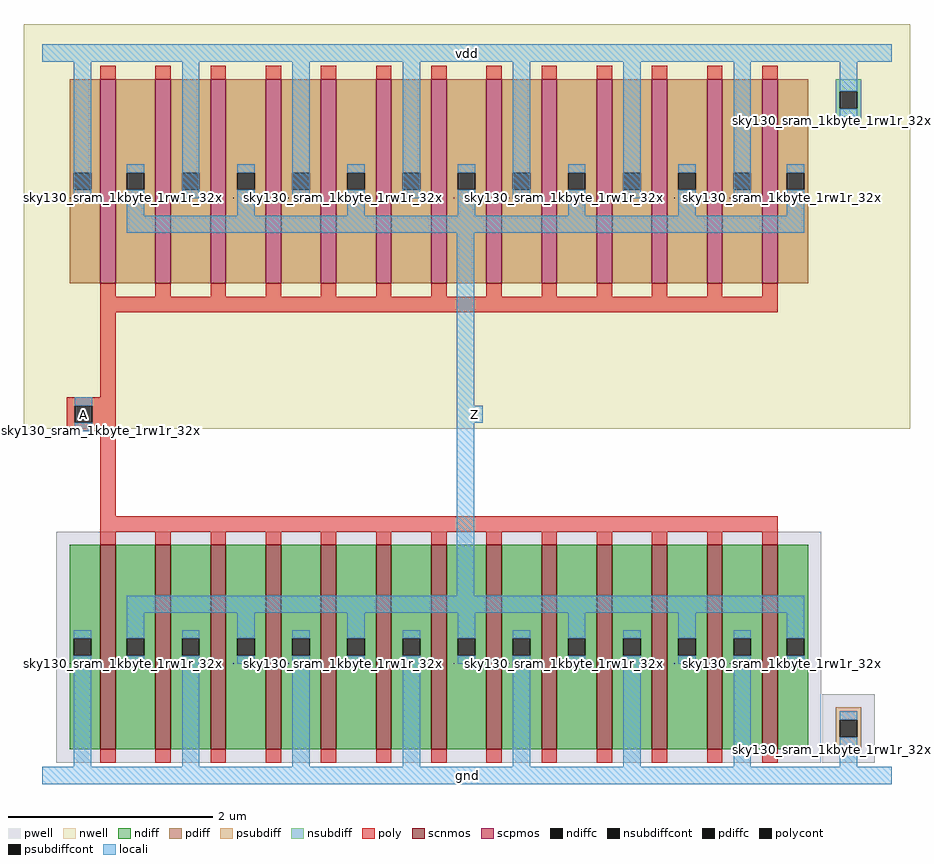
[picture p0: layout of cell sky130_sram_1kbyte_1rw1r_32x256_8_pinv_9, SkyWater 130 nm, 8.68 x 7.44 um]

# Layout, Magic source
magic
tech sky130A
magscale 1 2
<< nwell >>
rect -36 679 1700 1471
<< pwell >>
rect 1528 25 1630 159
<< psubdiff >>
rect 1554 109 1604 133
rect 1554 75 1562 109
rect 1596 75 1604 109
rect 1554 51 1604 75
<< nsubdiff >>
rect 1554 1339 1604 1363
rect 1554 1305 1562 1339
rect 1596 1305 1604 1339
rect 1554 1281 1604 1305
<< psubdiffcont >>
rect 1562 75 1596 109
<< nsubdiffcont >>
rect 1562 1305 1596 1339
<< poly >>
rect 114 740 144 907
rect 48 724 144 740
rect 48 690 64 724
rect 98 690 144 724
rect 48 674 144 690
rect 114 507 144 674
<< polycont >>
rect 64 690 98 724
<< locali >>
rect 0 1397 1664 1431
rect 62 1130 96 1397
rect 274 1130 308 1397
rect 490 1130 524 1397
rect 706 1130 740 1397
rect 922 1130 956 1397
rect 1138 1130 1172 1397
rect 1354 1130 1388 1397
rect 1562 1339 1596 1397
rect 1562 1289 1596 1305
rect 64 724 98 740
rect 64 674 98 690
rect 812 724 846 1096
rect 812 690 863 724
rect 812 318 846 690
rect 62 17 96 218
rect 274 17 308 218
rect 490 17 524 218
rect 706 17 740 218
rect 922 17 956 218
rect 1138 17 1172 218
rect 1354 17 1388 218
rect 1562 109 1596 125
rect 1562 17 1596 75
rect 0 -17 1664 17
use sky130_sram_1kbyte_1rw1r_32x256_8_contact_16  sky130_sram_1kbyte_1rw1r_32x256_8_contact_16_0
transform 1 0 48 0 1 674
box 0 0 1 1
use sky130_sram_1kbyte_1rw1r_32x256_8_contact_29  sky130_sram_1kbyte_1rw1r_32x256_8_contact_29_0
transform 1 0 1554 0 1 51
box 0 0 1 1
use sky130_sram_1kbyte_1rw1r_32x256_8_contact_28  sky130_sram_1kbyte_1rw1r_32x256_8_contact_28_0
transform 1 0 1554 0 1 1281
box 0 0 1 1
use sky130_sram_1kbyte_1rw1r_32x256_8_nmos_m13_w2_000_sli_dli_da_p  sky130_sram_1kbyte_1rw1r_32x256_8_nmos_m13_w2_000_sli_dli_da_p_0
transform 1 0 54 0 1 51
box -26 -26 1472 456
use sky130_sram_1kbyte_1rw1r_32x256_8_pmos_m13_w2_000_sli_dli_da_p  sky130_sram_1kbyte_1rw1r_32x256_8_pmos_m13_w2_000_sli_dli_da_p_0
transform 1 0 54 0 1 963
box -59 -56 1505 454
<< labels >>
rlabel locali s 81 707 81 707 4 A
port 1 nsew
rlabel locali s 846 707 846 707 4 Z
port 2 nsew
rlabel locali s 832 0 832 0 4 gnd
port 3 nsew
rlabel locali s 832 1414 832 1414 4 vdd
port 4 nsew
<< properties >>
string FIXED_BBOX 0 0 1664 1414
string GDS_FILE $PDKPATH/libs.ref/sky130_sram_macros/gds/sky130_sram_1kbyte_1rw1r_32x256_8.gds
string GDS_END 382704
string GDS_START 380066
<< end >>

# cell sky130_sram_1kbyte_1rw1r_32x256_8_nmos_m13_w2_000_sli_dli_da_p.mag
magic
tech sky130A
magscale 1 2
<< pwell >>
rect -26 -26 1472 426
<< scnmos >>
rect 60 0 90 400
rect 168 0 198 400
rect 276 0 306 400
rect 384 0 414 400
rect 492 0 522 400
rect 600 0 630 400
rect 708 0 738 400
rect 816 0 846 400
rect 924 0 954 400
rect 1032 0 1062 400
rect 1140 0 1170 400
rect 1248 0 1278 400
rect 1356 0 1386 400
<< ndiff >>
rect 0 217 60 400
rect 0 183 8 217
rect 42 183 60 217
rect 0 0 60 183
rect 90 217 168 400
rect 90 183 112 217
rect 146 183 168 217
rect 90 0 168 183
rect 198 217 276 400
rect 198 183 220 217
rect 254 183 276 217
rect 198 0 276 183
rect 306 217 384 400
rect 306 183 328 217
rect 362 183 384 217
rect 306 0 384 183
rect 414 217 492 400
rect 414 183 436 217
rect 470 183 492 217
rect 414 0 492 183
rect 522 217 600 400
rect 522 183 544 217
rect 578 183 600 217
rect 522 0 600 183
rect 630 217 708 400
rect 630 183 652 217
rect 686 183 708 217
rect 630 0 708 183
rect 738 217 816 400
rect 738 183 760 217
rect 794 183 816 217
rect 738 0 816 183
rect 846 217 924 400
rect 846 183 868 217
rect 902 183 924 217
rect 846 0 924 183
rect 954 217 1032 400
rect 954 183 976 217
rect 1010 183 1032 217
rect 954 0 1032 183
rect 1062 217 1140 400
rect 1062 183 1084 217
rect 1118 183 1140 217
rect 1062 0 1140 183
rect 1170 217 1248 400
rect 1170 183 1192 217
rect 1226 183 1248 217
rect 1170 0 1248 183
rect 1278 217 1356 400
rect 1278 183 1300 217
rect 1334 183 1356 217
rect 1278 0 1356 183
rect 1386 217 1446 400
rect 1386 183 1404 217
rect 1438 183 1446 217
rect 1386 0 1446 183
<< ndiffc >>
rect 8 183 42 217
rect 112 183 146 217
rect 220 183 254 217
rect 328 183 362 217
rect 436 183 470 217
rect 544 183 578 217
rect 652 183 686 217
rect 760 183 794 217
rect 868 183 902 217
rect 976 183 1010 217
rect 1084 183 1118 217
rect 1192 183 1226 217
rect 1300 183 1334 217
rect 1404 183 1438 217
<< poly >>
rect 60 426 1386 456
rect 60 400 90 426
rect 168 400 198 426
rect 276 400 306 426
rect 384 400 414 426
rect 492 400 522 426
rect 600 400 630 426
rect 708 400 738 426
rect 816 400 846 426
rect 924 400 954 426
rect 1032 400 1062 426
rect 1140 400 1170 426
rect 1248 400 1278 426
rect 1356 400 1386 426
rect 60 -26 90 0
rect 168 -26 198 0
rect 276 -26 306 0
rect 384 -26 414 0
rect 492 -26 522 0
rect 600 -26 630 0
rect 708 -26 738 0
rect 816 -26 846 0
rect 924 -26 954 0
rect 1032 -26 1062 0
rect 1140 -26 1170 0
rect 1248 -26 1278 0
rect 1356 -26 1386 0
<< locali >>
rect 112 267 1438 301
rect 8 217 42 233
rect 8 167 42 183
rect 112 217 146 267
rect 112 167 146 183
rect 220 217 254 233
rect 220 167 254 183
rect 328 217 362 267
rect 328 167 362 183
rect 436 217 470 233
rect 436 167 470 183
rect 544 217 578 267
rect 544 167 578 183
rect 652 217 686 233
rect 652 167 686 183
rect 760 217 794 267
rect 760 167 794 183
rect 868 217 902 233
rect 868 167 902 183
rect 976 217 1010 267
rect 976 167 1010 183
rect 1084 217 1118 233
rect 1084 167 1118 183
rect 1192 217 1226 267
rect 1192 167 1226 183
rect 1300 217 1334 233
rect 1300 167 1334 183
rect 1404 217 1438 267
rect 1404 167 1438 183
use sky130_sram_1kbyte_1rw1r_32x256_8_contact_11  sky130_sram_1kbyte_1rw1r_32x256_8_contact_11_0
transform 1 0 1396 0 1 167
box 0 0 1 1
use sky130_sram_1kbyte_1rw1r_32x256_8_contact_11  sky130_sram_1kbyte_1rw1r_32x256_8_contact_11_1
transform 1 0 1292 0 1 167
box 0 0 1 1
use sky130_sram_1kbyte_1rw1r_32x256_8_contact_11  sky130_sram_1kbyte_1rw1r_32x256_8_contact_11_2
transform 1 0 1184 0 1 167
box 0 0 1 1
use sky130_sram_1kbyte_1rw1r_32x256_8_contact_11  sky130_sram_1kbyte_1rw1r_32x256_8_contact_11_3
transform 1 0 1076 0 1 167
box 0 0 1 1
use sky130_sram_1kbyte_1rw1r_32x256_8_contact_11  sky130_sram_1kbyte_1rw1r_32x256_8_contact_11_4
transform 1 0 968 0 1 167
box 0 0 1 1
use sky130_sram_1kbyte_1rw1r_32x256_8_contact_11  sky130_sram_1kbyte_1rw1r_32x256_8_contact_11_5
transform 1 0 860 0 1 167
box 0 0 1 1
use sky130_sram_1kbyte_1rw1r_32x256_8_contact_11  sky130_sram_1kbyte_1rw1r_32x256_8_contact_11_6
transform 1 0 752 0 1 167
box 0 0 1 1
use sky130_sram_1kbyte_1rw1r_32x256_8_contact_11  sky130_sram_1kbyte_1rw1r_32x256_8_contact_11_7
transform 1 0 644 0 1 167
box 0 0 1 1
use sky130_sram_1kbyte_1rw1r_32x256_8_contact_11  sky130_sram_1kbyte_1rw1r_32x256_8_contact_11_8
transform 1 0 536 0 1 167
box 0 0 1 1
use sky130_sram_1kbyte_1rw1r_32x256_8_contact_11  sky130_sram_1kbyte_1rw1r_32x256_8_contact_11_9
transform 1 0 428 0 1 167
box 0 0 1 1
use sky130_sram_1kbyte_1rw1r_32x256_8_contact_11  sky130_sram_1kbyte_1rw1r_32x256_8_contact_11_10
transform 1 0 320 0 1 167
box 0 0 1 1
use sky130_sram_1kbyte_1rw1r_32x256_8_contact_11  sky130_sram_1kbyte_1rw1r_32x256_8_contact_11_11
transform 1 0 212 0 1 167
box 0 0 1 1
use sky130_sram_1kbyte_1rw1r_32x256_8_contact_11  sky130_sram_1kbyte_1rw1r_32x256_8_contact_11_12
transform 1 0 104 0 1 167
box 0 0 1 1
use sky130_sram_1kbyte_1rw1r_32x256_8_contact_11  sky130_sram_1kbyte_1rw1r_32x256_8_contact_11_13
transform 1 0 0 0 1 167
box 0 0 1 1
<< labels >>
rlabel locali s 453 200 453 200 4 S
port 1 nsew
rlabel locali s 1101 200 1101 200 4 S
port 1 nsew
rlabel locali s 669 200 669 200 4 S
port 1 nsew
rlabel locali s 25 200 25 200 4 S
port 1 nsew
rlabel locali s 885 200 885 200 4 S
port 1 nsew
rlabel locali s 1317 200 1317 200 4 S
port 1 nsew
rlabel locali s 237 200 237 200 4 S
port 1 nsew
rlabel locali s 775 284 775 284 4 D
port 2 nsew
rlabel poly s 723 441 723 441 4 G
port 3 nsew
<< properties >>
string FIXED_BBOX -25 -26 1471 456
string GDS_FILE $PDKPATH/libs.ref/sky130_sram_macros/gds/sky130_sram_1kbyte_1rw1r_32x256_8.gds
string GDS_END 150478
string GDS_START 146930
<< end >>

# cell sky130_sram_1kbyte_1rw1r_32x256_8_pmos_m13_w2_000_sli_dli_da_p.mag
magic
tech sky130A
magscale 1 2
<< nwell >>
rect -54 284 1500 454
rect -59 116 1505 284
rect -54 -54 1500 116
<< scpmos >>
rect 60 0 90 400
rect 168 0 198 400
rect 276 0 306 400
rect 384 0 414 400
rect 492 0 522 400
rect 600 0 630 400
rect 708 0 738 400
rect 816 0 846 400
rect 924 0 954 400
rect 1032 0 1062 400
rect 1140 0 1170 400
rect 1248 0 1278 400
rect 1356 0 1386 400
<< pdiff >>
rect 0 217 60 400
rect 0 183 8 217
rect 42 183 60 217
rect 0 0 60 183
rect 90 217 168 400
rect 90 183 112 217
rect 146 183 168 217
rect 90 0 168 183
rect 198 217 276 400
rect 198 183 220 217
rect 254 183 276 217
rect 198 0 276 183
rect 306 217 384 400
rect 306 183 328 217
rect 362 183 384 217
rect 306 0 384 183
rect 414 217 492 400
rect 414 183 436 217
rect 470 183 492 217
rect 414 0 492 183
rect 522 217 600 400
rect 522 183 544 217
rect 578 183 600 217
rect 522 0 600 183
rect 630 217 708 400
rect 630 183 652 217
rect 686 183 708 217
rect 630 0 708 183
rect 738 217 816 400
rect 738 183 760 217
rect 794 183 816 217
rect 738 0 816 183
rect 846 217 924 400
rect 846 183 868 217
rect 902 183 924 217
rect 846 0 924 183
rect 954 217 1032 400
rect 954 183 976 217
rect 1010 183 1032 217
rect 954 0 1032 183
rect 1062 217 1140 400
rect 1062 183 1084 217
rect 1118 183 1140 217
rect 1062 0 1140 183
rect 1170 217 1248 400
rect 1170 183 1192 217
rect 1226 183 1248 217
rect 1170 0 1248 183
rect 1278 217 1356 400
rect 1278 183 1300 217
rect 1334 183 1356 217
rect 1278 0 1356 183
rect 1386 217 1446 400
rect 1386 183 1404 217
rect 1438 183 1446 217
rect 1386 0 1446 183
<< pdiffc >>
rect 8 183 42 217
rect 112 183 146 217
rect 220 183 254 217
rect 328 183 362 217
rect 436 183 470 217
rect 544 183 578 217
rect 652 183 686 217
rect 760 183 794 217
rect 868 183 902 217
rect 976 183 1010 217
rect 1084 183 1118 217
rect 1192 183 1226 217
rect 1300 183 1334 217
rect 1404 183 1438 217
<< poly >>
rect 60 400 90 426
rect 168 400 198 426
rect 276 400 306 426
rect 384 400 414 426
rect 492 400 522 426
rect 600 400 630 426
rect 708 400 738 426
rect 816 400 846 426
rect 924 400 954 426
rect 1032 400 1062 426
rect 1140 400 1170 426
rect 1248 400 1278 426
rect 1356 400 1386 426
rect 60 -26 90 0
rect 168 -26 198 0
rect 276 -26 306 0
rect 384 -26 414 0
rect 492 -26 522 0
rect 600 -26 630 0
rect 708 -26 738 0
rect 816 -26 846 0
rect 924 -26 954 0
rect 1032 -26 1062 0
rect 1140 -26 1170 0
rect 1248 -26 1278 0
rect 1356 -26 1386 0
rect 60 -56 1386 -26
<< locali >>
rect 8 217 42 233
rect 8 167 42 183
rect 112 217 146 233
rect 112 133 146 183
rect 220 217 254 233
rect 220 167 254 183
rect 328 217 362 233
rect 328 133 362 183
rect 436 217 470 233
rect 436 167 470 183
rect 544 217 578 233
rect 544 133 578 183
rect 652 217 686 233
rect 652 167 686 183
rect 760 217 794 233
rect 760 133 794 183
rect 868 217 902 233
rect 868 167 902 183
rect 976 217 1010 233
rect 976 133 1010 183
rect 1084 217 1118 233
rect 1084 167 1118 183
rect 1192 217 1226 233
rect 1192 133 1226 183
rect 1300 217 1334 233
rect 1300 167 1334 183
rect 1404 217 1438 233
rect 1404 133 1438 183
rect 112 99 1438 133
use sky130_sram_1kbyte_1rw1r_32x256_8_contact_12  sky130_sram_1kbyte_1rw1r_32x256_8_contact_12_0
transform 1 0 1396 0 1 167
box 0 0 1 1
use sky130_sram_1kbyte_1rw1r_32x256_8_contact_12  sky130_sram_1kbyte_1rw1r_32x256_8_contact_12_1
transform 1 0 1292 0 1 167
box 0 0 1 1
use sky130_sram_1kbyte_1rw1r_32x256_8_contact_12  sky130_sram_1kbyte_1rw1r_32x256_8_contact_12_2
transform 1 0 1184 0 1 167
box 0 0 1 1
use sky130_sram_1kbyte_1rw1r_32x256_8_contact_12  sky130_sram_1kbyte_1rw1r_32x256_8_contact_12_3
transform 1 0 1076 0 1 167
box 0 0 1 1
use sky130_sram_1kbyte_1rw1r_32x256_8_contact_12  sky130_sram_1kbyte_1rw1r_32x256_8_contact_12_4
transform 1 0 968 0 1 167
box 0 0 1 1
use sky130_sram_1kbyte_1rw1r_32x256_8_contact_12  sky130_sram_1kbyte_1rw1r_32x256_8_contact_12_5
transform 1 0 860 0 1 167
box 0 0 1 1
use sky130_sram_1kbyte_1rw1r_32x256_8_contact_12  sky130_sram_1kbyte_1rw1r_32x256_8_contact_12_6
transform 1 0 752 0 1 167
box 0 0 1 1
use sky130_sram_1kbyte_1rw1r_32x256_8_contact_12  sky130_sram_1kbyte_1rw1r_32x256_8_contact_12_7
transform 1 0 644 0 1 167
box 0 0 1 1
use sky130_sram_1kbyte_1rw1r_32x256_8_contact_12  sky130_sram_1kbyte_1rw1r_32x256_8_contact_12_8
transform 1 0 536 0 1 167
box 0 0 1 1
use sky130_sram_1kbyte_1rw1r_32x256_8_contact_12  sky130_sram_1kbyte_1rw1r_32x256_8_contact_12_9
transform 1 0 428 0 1 167
box 0 0 1 1
use sky130_sram_1kbyte_1rw1r_32x256_8_contact_12  sky130_sram_1kbyte_1rw1r_32x256_8_contact_12_10
transform 1 0 320 0 1 167
box 0 0 1 1
use sky130_sram_1kbyte_1rw1r_32x256_8_contact_12  sky130_sram_1kbyte_1rw1r_32x256_8_contact_12_11
transform 1 0 212 0 1 167
box 0 0 1 1
use sky130_sram_1kbyte_1rw1r_32x256_8_contact_12  sky130_sram_1kbyte_1rw1r_32x256_8_contact_12_12
transform 1 0 104 0 1 167
box 0 0 1 1
use sky130_sram_1kbyte_1rw1r_32x256_8_contact_12  sky130_sram_1kbyte_1rw1r_32x256_8_contact_12_13
transform 1 0 0 0 1 167
box 0 0 1 1
<< labels >>
rlabel locali s 453 200 453 200 4 S
port 1 nsew
rlabel locali s 1101 200 1101 200 4 S
port 1 nsew
rlabel locali s 669 200 669 200 4 S
port 1 nsew
rlabel locali s 25 200 25 200 4 S
port 1 nsew
rlabel locali s 885 200 885 200 4 S
port 1 nsew
rlabel locali s 1317 200 1317 200 4 S
port 1 nsew
rlabel locali s 237 200 237 200 4 S
port 1 nsew
rlabel locali s 775 116 775 116 4 D
port 2 nsew
rlabel poly s 723 -41 723 -41 4 G
port 3 nsew
<< properties >>
string FIXED_BBOX -54 -56 1500 116
string GDS_FILE $PDKPATH/libs.ref/sky130_sram_macros/gds/sky130_sram_1kbyte_1rw1r_32x256_8.gds
string GDS_END 154184
string GDS_START 150572
<< end >>
